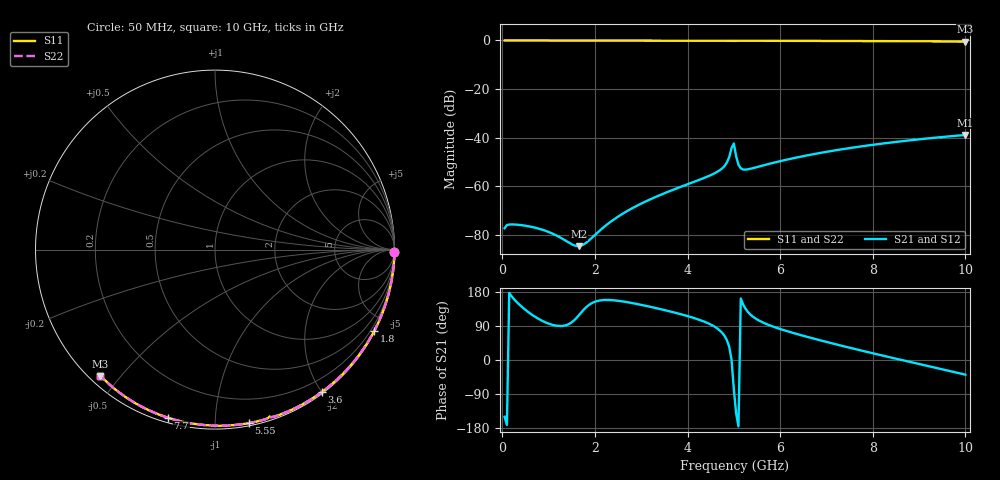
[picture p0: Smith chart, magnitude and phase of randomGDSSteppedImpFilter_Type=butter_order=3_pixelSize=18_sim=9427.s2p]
! freq	dB(S11)	phase(S11)	dB(S12)	phase(S12)
!  dB(S21)	phase(S21)	dB(S22)	phase(S22)
!S-par simulation data
#  GHz  S  DB  R 50
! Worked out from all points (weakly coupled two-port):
!   200 points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, 50 MHz to 10 GHz, reference 50 ohm
!   highest |S21| = -38.88 dB at 10 GHz (marker M1); lowest = -84.6 dB at 1.65 GHz (marker M2)
!   lowest |S11| = -0.4 dB at 10 GHz (marker M3), VSWR 38.85, Z = 1.54 - j22.1 ohm
!   |S11| at or under -10 dB: nowhere
!   |S22| runs from -0.4 to 0.0 dB; largest |S21 - S12| = 0
!   S11 on the Smith chart (normalised r, x): 50 MHz: open; 1.8 GHz: 0.04, -4.15; 3.6 GHz: 0.02, -2.01; 5.55 GHz: 0.02, -1.21; 7.7 GHz: 0.02, -0.76; 10 GHz: 0.03, -0.44
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0.05  -0.00 -0.8  -77.22 -149.8  -77.22 -149.8  -0.00 -0.8
0.15  -0.00 -2.3  -75.70 177.0  -75.70 177.0  -0.00 -2.3
0.35  -0.00 -5.3  -75.81 148.3  -75.81 148.3  -0.00 -5.3
1.15  -0.02 -17.4  -80.01 90.8  -80.01 90.8  -0.02 -17.4
1.65  -0.03 -24.9  -84.60 117.7  -84.60 117.7  -0.03 -24.9
1.75  -0.03 -26.4  -83.97 131.8  -83.97 131.8  -0.03 -26.4
1.8  -0.03 -27.1  -83.35 137.9  -83.35 137.9  -0.03 -27.1
2  -0.04 -30.0  -80.01 153.8  -80.01 153.8  -0.04 -30.0
2.55  -0.05 -38.1  -71.83 155.4  -71.83 155.4  -0.05 -38.1
3.4  -0.07 -50.2  -63.63 134.7  -63.63 134.7  -0.07 -50.2
3.6  -0.07 -53.0  -62.07 128.9  -62.07 128.9  -0.07 -53.0
4.7  -0.10 -68.0  -53.29 77.4  -53.29 77.4  -0.10 -68.0
4.85  -0.11 -70.1  -50.19 52.3  -50.19 52.3  -0.11 -70.1
5  -0.20 -71.9  -42.37 -77.5  -42.37 -77.5  -0.20 -71.9
5.05  -0.14 -72.4  -47.68 -141.1  -47.68 -141.1  -0.14 -72.4
5.1  -0.13 -73.1  -51.12 -175.1  -51.12 -175.1  -0.13 -73.1
5.2  -0.12 -74.5  -53.07 146.7  -53.07 146.7  -0.12 -74.5
5.55  -0.13 -79.1  -51.80 103.7  -51.80 103.7  -0.13 -79.1
6.7  -0.18 -93.5  -46.83 57.2  -46.83 57.2  -0.18 -93.5
7.7  -0.24 -105.6  -43.70 26.5  -43.70 26.5  -0.24 -105.6
8.35  -0.29 -113.3  -42.07 7.7  -42.07 7.7  -0.29 -113.3
10  -0.45 -132.2  -38.88 -38.7  -38.88 -38.7  -0.45 -132.2
